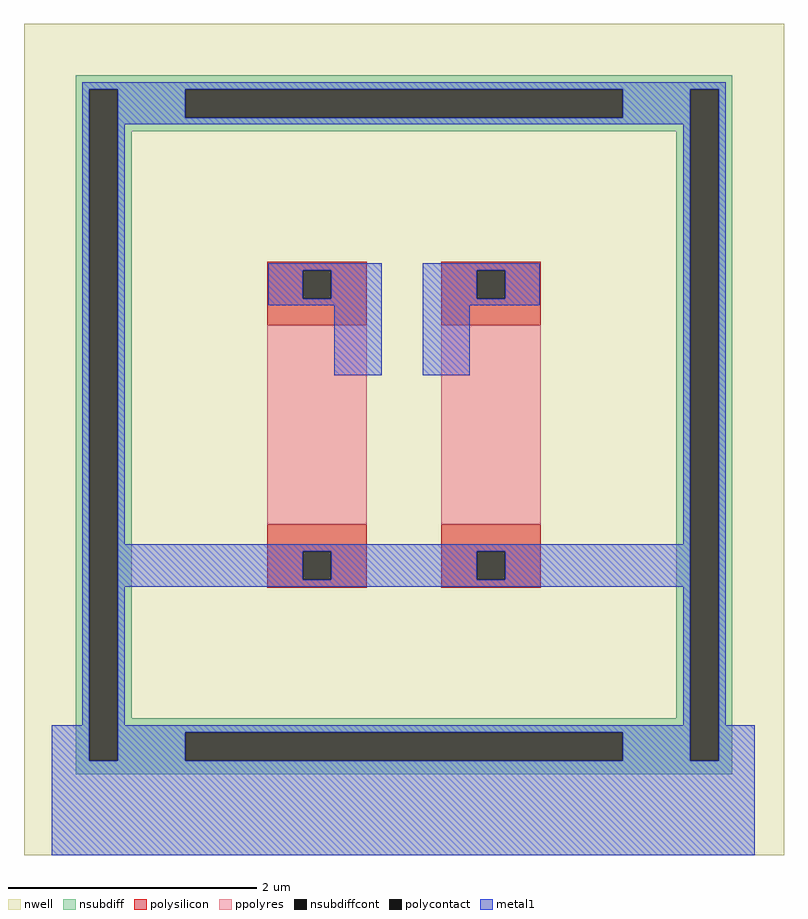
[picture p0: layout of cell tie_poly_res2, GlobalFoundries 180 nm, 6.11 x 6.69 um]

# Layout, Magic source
magic
tech gf180mcuD
magscale 1 10
<< nwell >>
rect -3895 53660 -2673 54997
<< nsubdiff >>
rect -3812 54892 -2756 54914
rect -3812 53812 -3790 54892
rect -3744 54846 -3636 54892
rect -2932 54846 -2824 54892
rect -3744 54824 -2824 54846
rect -3744 53880 -3722 54824
rect -2846 53880 -2824 54824
rect -3744 53858 -2824 53880
rect -3744 53812 -3636 53858
rect -2932 53812 -2824 53858
rect -2778 53812 -2756 54892
rect -3812 53790 -2756 53812
<< nsubdiffcont >>
rect -3790 53812 -3744 54892
rect -3636 54846 -2932 54892
rect -3636 53812 -2932 53858
rect -2824 53812 -2778 54892
<< polysilicon >>
rect -3504 54601 -3344 54614
rect -3504 54555 -3447 54601
rect -3401 54555 -3344 54601
rect -3504 54512 -3344 54555
rect -3504 54149 -3344 54192
rect -3504 54103 -3447 54149
rect -3401 54103 -3344 54149
rect -3504 54090 -3344 54103
rect -3224 54601 -3064 54614
rect -3224 54555 -3167 54601
rect -3121 54555 -3064 54601
rect -3224 54512 -3064 54555
rect -3224 54149 -3064 54192
rect -3224 54103 -3167 54149
rect -3121 54103 -3064 54149
rect -3224 54090 -3064 54103
<< polycontact >>
rect -3447 54555 -3401 54601
rect -3447 54103 -3401 54149
rect -3167 54555 -3121 54601
rect -3167 54103 -3121 54149
<< ppolyres >>
rect -3504 54192 -3344 54512
rect -3224 54192 -3064 54512
<< metal1 >>
rect -3801 54892 -2767 54903
rect -3801 53869 -3790 54892
rect -3850 53812 -3790 53869
rect -3744 54846 -3636 54892
rect -2932 54846 -2824 54892
rect -3744 54835 -2824 54846
rect -3744 54160 -3733 54835
rect -3502 54601 -3320 54612
rect -3502 54555 -3447 54601
rect -3401 54555 -3320 54601
rect -3502 54544 -3320 54555
rect -3396 54432 -3320 54544
rect -3254 54601 -3066 54612
rect -3254 54555 -3167 54601
rect -3121 54555 -3066 54601
rect -3254 54544 -3066 54555
rect -3254 54432 -3178 54544
rect -2835 54160 -2824 54835
rect -3744 54149 -2824 54160
rect -3744 54103 -3447 54149
rect -3401 54103 -3167 54149
rect -3121 54103 -2824 54149
rect -3744 54092 -2824 54103
rect -3744 53869 -3733 54092
rect -2835 53869 -2824 54092
rect -3744 53858 -2824 53869
rect -3744 53812 -3636 53858
rect -2932 53812 -2824 53858
rect -2778 53869 -2767 54892
rect -2778 53812 -2720 53869
rect -3850 53660 -2720 53812
<< end >>
